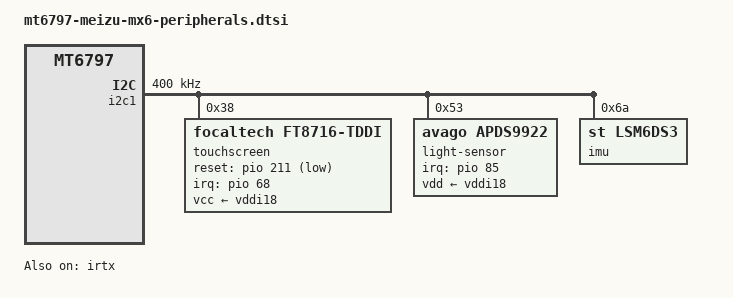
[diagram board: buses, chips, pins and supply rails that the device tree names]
// SPDX-License-Identifier: GPL-2.0-only
/*
 * Meizu MX6 (M95) peripherals: touch, IMU, light/proximity, IR transmitter.
 *
 * Every value below comes from the stock 3.18 device tree
 * (arch/arm64/boot/dts/meizu6797_6c_m.dts) and the drivers it selects:
 *
 *   touch     Mz_ft8716/focaltech_core.c  i2c1 0x38, INT GPIO68 (EINT7,
 *             falling), RST GPIO211, reset 20 ms low / 300 ms high
 *   IRTX      mt_irtx.c @ 0x1101d000, GPIO137 pad function 5 (IRTX_OUT)
 *   sensors   listed at the bottom of the stock tree as cust_* nodes
 *
 * Kept out of mt6797-meizu-mx6.dts because it is a self-contained group of
 * i2c1/IRTX peripherals sharing the board's pinctrl states.
 */

#include <dt-bindings/interrupt-controller/irq.h>

&pio {
	/* INT = EINT7 (GPIO68). Stock: input, pull-up, no drive. */
	mx6_ctp_int_pins: mx6-ctp-int-pins {
		pins-int {
			pinmux = <MT6797_GPIO68__FUNC_EINT7>;
			input-enable;
			bias-pull-up;
		};
	};

	/* RST = GPIO211, driven by the driver. */
	mx6_ctp_rst_pins: mx6-ctp-rst-pins {
		pins-rst {
			pinmux = <MT6797_GPIO211__FUNC_GPIO211>;
		};
	};

	/*
	 * APDS9922 interrupt = GPIO85, which is EINT8 on MT6797 (the stock
	 * node writes EINT 85, the flattened virtual number). Stock pull-up.
	 */
	mx6_alsps_int_pins: mx6-alsps-int-pins {
		pins-int {
			pinmux = <MT6797_GPIO85__FUNC_EINT8>;
			input-enable;
			bias-pull-up;
		};
	};

	/*
	 * ICM20645 / LSM6DS3-class IMU interrupt = GPIO63. The stock
	 * "gyro_intpin_cfg" claims EINT2 on GPIO63, but on MT6797 GPIO63 is
	 * EINT24; the board works either way because the line is only used
	 * for hardware timestamping and the driver runs in polling mode.
	 * It is described as a plain GPIO input so no EINT mapping is baked
	 * in, and the IMU nodes below leave the interrupt out.
	 */
	mx6_imu_int_pins: mx6-imu-int-pins {
		pins-int {
			pinmux = <MT6797_GPIO63__FUNC_GPIO63>;
			input-enable;
			bias-pull-down;
		};
	};

	/* IR LED pad: mode 0 = plain GPIO, mode 5 = IRTX_OUT. */
	mx6_irtx_gpio_default: mx6-irtx-gpio-default {
		pins-gpio {
			pinmux = <MT6797_GPIO137__FUNC_GPIO137>;
		};
	};

	mx6_irtx_gpio_led_set: mx6-irtx-gpio-led-set {
		pins-irtx {
			pinmux = <MT6797_GPIO137__FUNC_IRTX_OUT>;
		};
	};
};

/*
 * Touch panel: FocalTech FT8716, the touch half of the TDDI panel that the
 * stock tree also drives as the LCM (ft8716_fhd_vdo_sharp).  The stock
 * driver coerces the address to 0x38 regardless of what the board node
 * says (focaltech_core.c:1094), and its probe pulses reset before the
 * first register read, so the node needs only reset/irq lines and the
 * panel resolution.
 */
&i2c1 {
	pinctrl-names = "default";
	pinctrl-0 = <&mx6_i2c1_pins>;
	clock-frequency = <400000>;
	status = "okay";

	touchscreen@38 {
		compatible = "focaltech,ft8716-tddi";
		reg = <0x38>;

		interrupt-parent = <&pio>;
		interrupts = <68 IRQ_TYPE_EDGE_FALLING>;
		interrupt-names = "irq";
		reset-gpios = <&pio 211 GPIO_ACTIVE_LOW>;

		pinctrl-names = "default";
		pinctrl-0 = <&mx6_ctp_int_pins>, <&mx6_ctp_rst_pins>;

		touchscreen-size-x = <1080>;
		touchscreen-size-y = <1920>;
		focaltech,max-touch-number = <5>;

		/* Stock vtouch rail: a pinctrl-driven regulator (tpvddi). */
		vcc-supply = <&vddi18>;
	};
};

/*
 * IMU and light/proximity.
 *
 * The stock MX6 tree ends with a mix of two device-tree styles: the
 * "sensor standardization" cust_accel@0/cust_alsps@0/cust_mag@0/cust_gyro@0
 * nodes say i2c_num = 1 with ICM20645 (accel 0x68, gyro 0x69), CM36558 ALS/PS
 * at 0x51 and AK09912 at 0x0c, while the explicit apds9922@53/lsm6ds3@6a
 * nodes hang off &i2c1 of the SoC multipurpose bus.
 *
 * Two facts decide what can be described honestly:
 *
 *  - The ICM20645 parts at 0x68/0x69 have no mainline driver (the closest
 *    part, inv-mpu6050, checks WHO_AM_I and the 20645 answers 0xE0, not the
 *    0xAE of the ICM20608D it knows).  Binding them to any mainline driver
 *    would be a probe that always fails, so they are left out of the tree.
 *  - CM36558 and AK09912 do have mainline drivers (capella,cm36651 must
 *    not be confused with cm36558, and ak09911 is a different part), so
 *    they are left out too.
 *
 * What is left are the two parts that do have a mainline driver with a
 * matching compatible:
 *   APDS-9922 at 0x53 on i2c1 (drivers/iio/light/apds9922.c)
 *   ST LSM6DS3 at 0x6a on i2c1 (drivers/iio/imu/st_lsm6dsx)
 * Both addresses are taken verbatim from the stock board tree.
 */
&i2c1 {
	/* Light and proximity. */
	light-sensor@53 {
		compatible = "avago,apds9922";
		reg = <0x53>;

		interrupt-parent = <&pio>;
		interrupts = <85 IRQ_TYPE_EDGE_FALLING>;
		interrupt-names = "irq";
		pinctrl-names = "default";
		pinctrl-0 = <&mx6_alsps_int_pins>;

		vdd-supply = <&vddi18>;
	};

	/* 6-axis IMU. */
	imu@6a {
		compatible = "st,lsm6ds3";
		reg = <0x6a>;
		pinctrl-names = "default";
		pinctrl-0 = <&mx6_imu_int_pins>;

		/* INT1 is wired to GPIO63 but has no mainline use (see above). */
		mount-matrix = "0", "-1", "0",
			       "1", "0", "0",
			       "0", "0", "1";
	};
};

/*
 * IR transmitter. The IRTX block lives at 0x1101d000 and the LED sits on
 * GPIO137 (pad function IRTX_OUT, mode 5). The block uses PWM channel 3 as
 * its slot time base and runs from the 26 MHz infra_irtx gate (the stock
 * driver's clk_irtx_main), which is the MT6797 spi_sel clock gated into the
 * IRTX block.
 *
 * GPIO137 is left in GPIO mode at rest; the driver switches the pad to
 * IRTX_OUT only while a frame is being sent (stock switch_irtx_gpio()).
 */
&pio {
	mx6_i2c1_pins: mx6-i2c1-pins {
		pins-bus {
			pinmux = <MT6797_GPIO55__FUNC_SCL1_0>,
				 <MT6797_GPIO56__FUNC_SDA1_0>;
			bias-pull-up;
			drive-strength = <MTK_DRIVE_4mA>;
		};
	};
};

&irtx {
	pinctrl-names = "irtx_gpio_default", "irtx_gpio_led_set";
	pinctrl-0 = <&mx6_irtx_gpio_default>;
	pinctrl-1 = <&mx6_irtx_gpio_led_set>;
	status = "okay";
};
